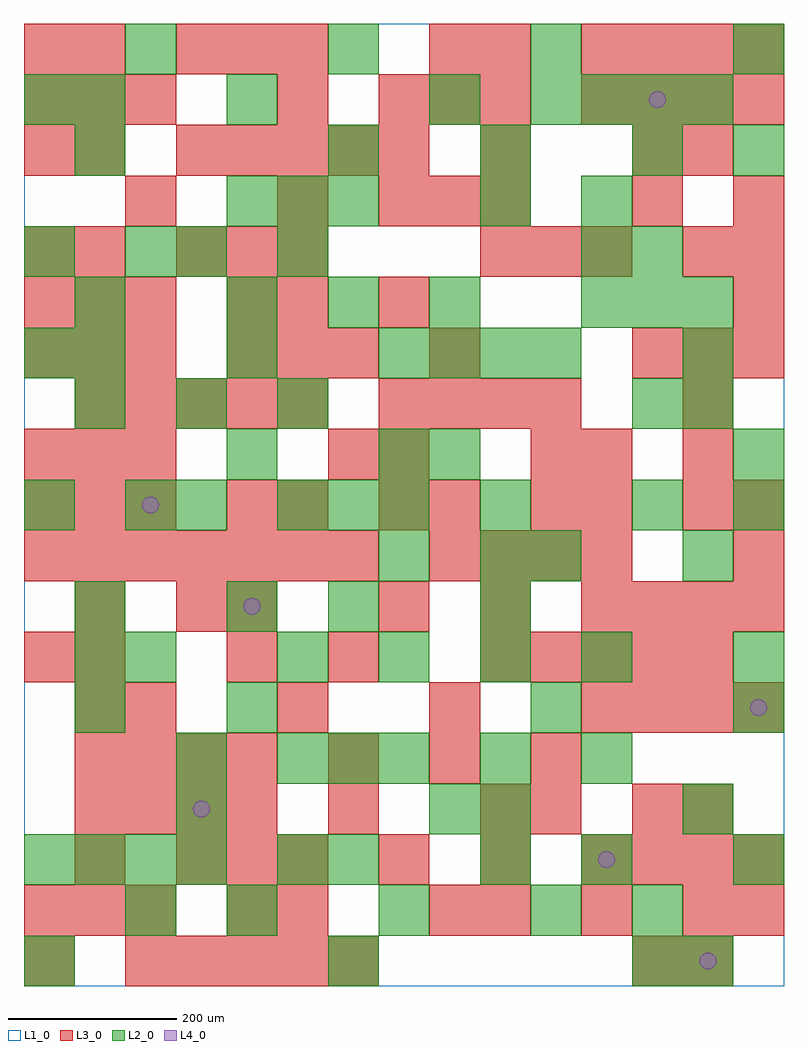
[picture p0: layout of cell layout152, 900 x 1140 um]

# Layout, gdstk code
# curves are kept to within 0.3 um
import gdstk
lib = gdstk.Library(unit=1e-6, precision=1e-09)
def R(c, l, rs):  # rectangles x0, y0, x1, y1
    for r in rs: c.add(gdstk.rectangle(r[:2], r[2:], *l))
def A(c, l, x, y, w, h, nx, ny, dx, dy):  # array of equal rectangles
    R(c, l, [(x+i*dx, y+j*dy, x+i*dx+w, y+j*dy+h) for i in range(nx) for j in range(ny)])
def P(c, l, *ps):  # polygons
    for p in ps: c.add(gdstk.Polygon(p, *l))
L1_0 = (1, 0)
L2_0 = (2, 0)
L3_0 = (3, 0)
L4_0 = (4, 0)

layout152 = lib.new_cell('layout152')
R(layout152, L1_0, [(0,0,900,1140)])
A(layout152, L2_0, 0, 0, 60, 60, 3, 1, 360, 0)
A(layout152, L2_0, 240, 60, 60, 60, 3, 1, 180, 0)
A(layout152, L2_0, 0, 120, 60, 60, 4, 1, 60, 0)
A(layout152, L2_0, 540, 120, 60, 60, 1, 3, 0, 60)
A(layout152, L2_0, 480, 180, 60, 60, 1, 3, 0, 420)
A(layout152, L2_0, 180, 240, 60, 60, 1, 3, 0, 300)
A(layout152, L2_0, 300, 240, 60, 60, 3, 2, 60, 300)
A(layout152, L2_0, 60, 300, 60, 60, 1, 3, 0, 60)
A(layout152, L2_0, 300, 360, 60, 60, 4, 1, 120, 0)
A(layout152, L2_0, 540, 420, 60, 60, 1, 3, 0, 60)
A(layout152, L2_0, 60, 660, 60, 60, 3, 1, 120, 0)
A(layout152, L2_0, 60, 720, 60, 60, 3, 1, 180, 0)
A(layout152, L2_0, 480, 720, 60, 60, 3, 1, 60, 0)
A(layout152, L2_0, 240, 780, 60, 60, 3, 1, 120, 0)
A(layout152, L2_0, 660, 780, 60, 60, 3, 1, 60, 0)
A(layout152, L2_0, 240, 900, 60, 60, 3, 1, 60, 0)
A(layout152, L2_0, 360, 960, 60, 60, 3, 1, 180, 0)
A(layout152, L2_0, 600, 1020, 60, 60, 4, 1, 60, 0)
A(layout152, L2_0, 120, 1080, 60, 60, 4, 1, 240, 0)
R(layout152, L2_0, [(780,0,840,60), (120,60,180,120), (720,60,780,120), (300,120,360,180), (360,120,420,180), (660,120,720,180), (840,120,900,180), (180,180,240,240), (780,180,840,240), (660,240,720,300), (240,300,300,360), (600,300,660,360), (840,300,900,360), (120,360,180,420), (840,360,900,420), (240,420,300,480), (360,420,420,480), (420,480,480,540), (600,480,660,540), (780,480,840,540), (0,540,60,600), (120,540,180,600), (720,540,780,600), (840,540,900,600), (240,600,300,660), (420,600,480,660), (840,600,900,660), (720,660,780,720), (780,660,840,720), (0,720,60,780), (780,720,840,780), (60,780,120,840), (0,840,60,900), (120,840,180,900), (300,840,360,900), (660,840,720,900), (720,840,780,900), (540,900,600,960), (660,900,720,960), (60,960,120,1020), (840,960,900,1020), (0,1020,60,1080), (60,1020,120,1080), (240,1020,300,1080)])
A(layout152, L3_0, 120, 0, 60, 60, 5, 1, 60, 0)
A(layout152, L3_0, 0, 60, 60, 60, 3, 2, 60, 480)
A(layout152, L3_0, 540, 60, 60, 60, 3, 1, 120, 0)
A(layout152, L3_0, 180, 120, 60, 60, 3, 2, 60, 720)
A(layout152, L3_0, 420, 120, 60, 60, 3, 2, 120, 300)
A(layout152, L3_0, 720, 120, 60, 60, 3, 2, 60, 180)
A(layout152, L3_0, 60, 180, 60, 60, 4, 2, 60, 60)
A(layout152, L3_0, 360, 240, 60, 60, 3, 1, 120, 0)
A(layout152, L3_0, 60, 300, 60, 60, 1, 3, 0, 60)
A(layout152, L3_0, 120, 300, 60, 60, 4, 1, 180, 0)
A(layout152, L3_0, 540, 360, 60, 60, 5, 1, 60, 0)
A(layout152, L3_0, 720, 420, 60, 60, 3, 2, 60, 300)
A(layout152, L3_0, 0, 480, 60, 60, 7, 1, 60, 0)
A(layout152, L3_0, 480, 480, 60, 60, 4, 1, 60, 0)
A(layout152, L3_0, 780, 540, 60, 60, 1, 3, 0, 60)
A(layout152, L3_0, 0, 600, 60, 60, 3, 2, 60, 120)
A(layout152, L3_0, 60, 660, 60, 60, 5, 1, 60, 0)
A(layout152, L3_0, 420, 660, 60, 60, 4, 1, 60, 0)
A(layout152, L3_0, 240, 720, 60, 60, 3, 1, 60, 0)
A(layout152, L3_0, 0, 780, 60, 60, 3, 2, 60, 240)
A(layout152, L3_0, 300, 780, 60, 60, 1, 3, 0, 120)
A(layout152, L3_0, 840, 780, 60, 60, 1, 3, 0, 60)
A(layout152, L3_0, 0, 840, 60, 60, 1, 3, 0, 120)
A(layout152, L3_0, 60, 840, 60, 60, 1, 3, 0, 120)
A(layout152, L3_0, 540, 840, 60, 60, 3, 1, 60, 0)
A(layout152, L3_0, 420, 900, 60, 60, 3, 2, 60, 120)
A(layout152, L3_0, 180, 960, 60, 60, 5, 1, 60, 0)
A(layout152, L3_0, 660, 1020, 60, 60, 4, 2, 60, 60)
A(layout152, L3_0, 180, 1080, 60, 60, 3, 1, 60, 0)
R(layout152, L3_0, [(0,0,60,60), (720,0,780,60), (780,0,840,60), (240,60,300,120), (300,60,360,120), (480,60,540,120), (840,60,900,120), (60,120,120,180), (360,180,420,240), (540,180,600,240), (600,180,660,240), (720,180,780,240), (780,180,840,240), (0,360,60,420), (240,360,300,420), (360,360,420,420), (180,420,240,480), (240,420,300,480), (840,480,900,540), (240,540,300,600), (300,540,360,600), (420,540,480,600), (480,540,540,600), (600,540,660,600), (660,540,720,600), (840,540,900,600), (360,600,420,660), (420,600,480,660), (600,600,660,660), (660,600,720,660), (480,720,540,780), (240,780,300,840), (420,780,480,840), (780,840,840,900), (120,900,180,960), (720,900,780,960), (540,960,600,1020), (720,960,780,1020), (780,960,840,1020), (480,1080,540,1140), (540,1080,600,1140)])
P(layout152, L4_0, [(160,570),(159.239,573.827),(157.071,577.071),(153.827,579.239),(150,580),(146.173,579.239),(142.929,577.071),(140.761,573.827),(140,570),(140.761,566.173),(142.929,562.929),(146.173,560.761),(150,560),(153.827,560.761),(157.071,562.929),(159.239,566.173)],
  [(220,210),(219.239,213.827),(217.071,217.071),(213.827,219.239),(210,220),(206.173,219.239),(202.929,217.071),(200.761,213.827),(200,210),(200.761,206.173),(202.929,202.929),(206.173,200.761),(210,200),(213.827,200.761),(217.071,202.929),(219.239,206.173)],
  [(280,450),(279.239,453.827),(277.071,457.071),(273.827,459.239),(270,460),(266.173,459.239),(262.929,457.071),(260.761,453.827),(260,450),(260.761,446.173),(262.929,442.929),(266.173,440.761),(270,440),(273.827,440.761),(277.071,442.929),(279.239,446.173)],
  [(700,150),(699.239,153.827),(697.071,157.071),(693.827,159.239),(690,160),(686.173,159.239),(682.929,157.071),(680.761,153.827),(680,150),(680.761,146.173),(682.929,142.929),(686.173,140.761),(690,140),(693.827,140.761),(697.071,142.929),(699.239,146.173)],
  [(760,1050),(759.239,1053.827),(757.071,1057.071),(753.827,1059.239),(750,1060),(746.173,1059.239),(742.929,1057.071),(740.761,1053.827),(740,1050),(740.761,1046.173),(742.929,1042.929),(746.173,1040.761),(750,1040),(753.827,1040.761),(757.071,1042.929),(759.239,1046.173)],
  [(820,30),(819.239,33.827),(817.071,37.071),(813.827,39.239),(810,40),(806.173,39.239),(802.929,37.071),(800.761,33.827),(800,30),(800.761,26.173),(802.929,22.929),(806.173,20.761),(810,20),(813.827,20.761),(817.071,22.929),(819.239,26.173)],
  [(880,330),(879.239,333.827),(877.071,337.071),(873.827,339.239),(870,340),(866.173,339.239),(862.929,337.071),(860.761,333.827),(860,330),(860.761,326.173),(862.929,322.929),(866.173,320.761),(870,320),(873.827,320.761),(877.071,322.929),(879.239,326.173)])

lib.write_gds('layout152.gds')
